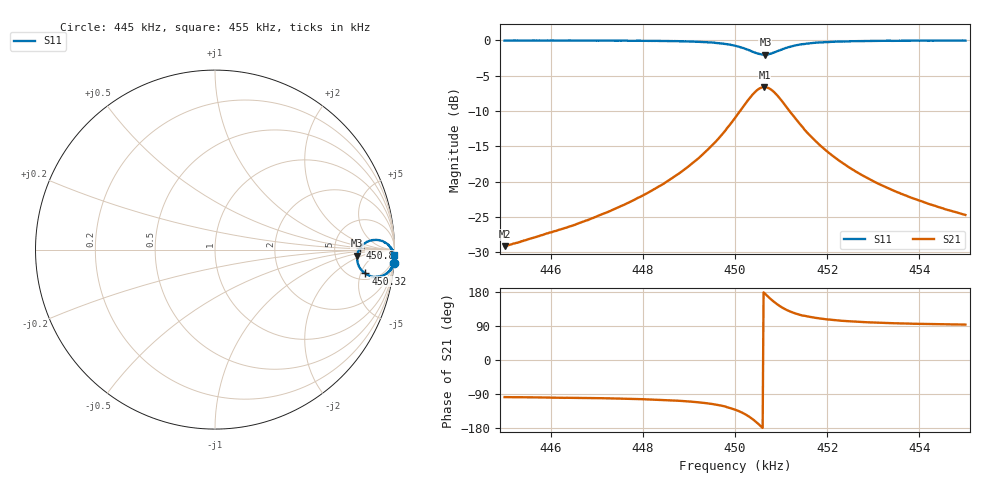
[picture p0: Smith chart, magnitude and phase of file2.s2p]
# HZ S RI R 50
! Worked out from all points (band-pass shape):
!   501 points, 445 kHz to 455 kHz, reference 50 ohm
!   highest |S21| = -6.62 dB at 450.64 kHz (marker M1); lowest = -29.1 dB at 445 kHz (marker M2)
!   |S21| within 3 dB of the highest: 450.1521 kHz to 451.1383 kHz (986.2 Hz wide, 0.219 % of centre)
!   lowest |S11| = -2.0 dB at 450.66 kHz (marker M3), VSWR 8.66, Z = 419 - j77.1 ohm
!   |S11| at or under -10 dB: nowhere
!   S12 and S22 are empty: the file has one direction only
!   S11 on the Smith chart (normalised r, x): 445 kHz: 1, -28; 450.32 kHz: 6.39, -6.07; 450.8 kHz: 9.50, +0.58; 455 kHz: 9, -63
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445000  0.9947 -0.0719  -0.00479 -0.0346  0 0  0 0
446680  0.9922 -0.0803  -0.00913 -0.0509  0 0  0 0
447620  0.9918 -0.0886  -0.0146 -0.0677  0 0  0 0
448340  0.9867 -0.0995  -0.0237 -0.0891  0 0  0 0
448880  0.9783 -0.1112  -0.0379 -0.114  0 0  0 0
449420  0.9611 -0.1301  -0.0708 -0.1545  0 0  0 0
449760  0.9347 -0.1452  -0.118 -0.19  0 0  0 0
450000  0.9048 -0.1507  -0.185 -0.2128  0 0  0 0
450180  0.8696 -0.1483  -0.2623 -0.2166  0 0  0 0
450320  0.8385 -0.1327  -0.3407 -0.1918  0 0  0 0
450460  0.8072 -0.1017  -0.4213 -0.1236  0 0  0 0
450560  0.7942 -0.0695  -0.4592 -0.0432  0 0  0 0
450640  0.7925 -0.0411  -0.4654 0.0317  0 0  0 0
450660  0.7922 -0.0342  -0.4636 0.0507  0 0  0 0
450800  0.8102 0.0106  -0.4125 0.1651  0 0  0 0
450940  0.8409 0.0397  -0.3273 0.2296  0 0  0 0
451080  0.8759 0.053  -0.2459 0.2492  0 0  0 0
451360  0.9254 0.0491  -0.1375 0.2296  0 0  0 0
451680  0.9575 0.0339  -0.0785 0.1881  0 0  0 0
452400  0.9831 0.0049  -0.0291 0.1276  0 0  0 0
453340  0.9934 -0.0153  -0.0116 0.0886  0 0  0 0
455000  0.9953 -0.0311  -0.0034 0.058  0 0  0 0
